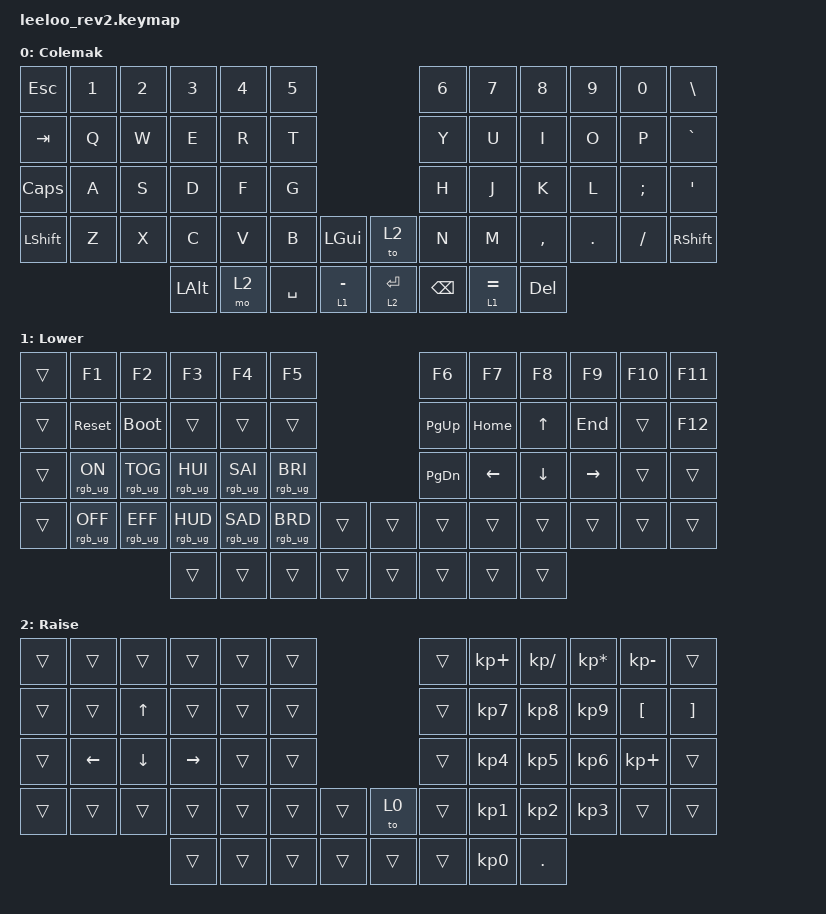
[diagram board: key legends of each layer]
#include <behaviors.dtsi>
#include <dt-bindings/zmk/outputs.h>
#include <dt-bindings/zmk/keys.h>
#include <dt-bindings/zmk/bt.h>
#include <dt-bindings/zmk/rgb.h>

// Layers
#define DEFAULT    0       // default_layer
#define LOWER      1       // lower_layer
#define RAISE      2       // raise_layer

// Short versions
#define RGBON   &rgb_ug RGB_ON
#define RGBOFF  &rgb_ug RGB_OFF
#define RGBTOG  &rgb_ug RGB_TOG
#define RGBHUI  &rgb_ug RGB_HUI
#define RGBHUD  &rgb_ug RGB_HUD
#define RGBSAI  &rgb_ug RGB_SAI
#define RGBSAD  &rgb_ug RGB_SAD
#define RGBBRI  &rgb_ug RGB_BRI
#define RGBBRD  &rgb_ug RGB_BRD
#define RGBEFF  &rgb_ug RGB_EFF


nice_view_spi: &spi0 {
  compatible = "nordic,nrf-spim";
  pinctrl-0 = <&spi0_default>;
  pinctrl-1 = <&spi0_sleep>;
  pinctrl-names = "default", "sleep";
  cs-gpios = <&pro_micro 4 GPIO_ACTIVE_HIGH>;
};


/ {

    keymap {
        compatible = "zmk,keymap";

        default_layer {
            label = "Colemak";
            bindings = <
&kp ESC    &kp N1     &kp N2     &kp N3     &kp N4     &kp N5                               &kp N6      &kp N7        &kp N8     &kp N9     &kp N0     &kp BSLH
&kp TAB    &kp Q      &kp W      &kp E      &kp R      &kp T                                &kp Y       &kp U         &kp I      &kp O      &kp P      &kp GRAV
&kp CAPS   &kp A      &kp S      &kp D      &kp F      &kp G                                &kp H       &kp J         &kp K      &kp L      &kp SEMI   &kp SQT
&kp LSHFT  &kp Z      &kp X      &kp C      &kp V      &kp B        &kp LGUI     &to 2      &kp N       &kp M         &kp COMMA  &kp DOT    &kp FSLH   &kp RSHFT
                                 &kp LALT   &mo 2      &kp SPACE    &lt 1 MINUS  &lt 2 RET  &kp BSPC    &lt 1 EQUAL   &kp DEL
            >;

//             sensor-bindings = <&inc_dec_kp C_VOL_UP C_VOL_DN>;
        };

        lower_layer {
            label = " Lower";
            bindings = <
&trans     &kp F1     &kp F2       &kp F3     &kp F4     &kp F5                           &kp F6     &kp F7     &kp F8     &kp F9     &kp F10    &kp F11
&trans     &sys_reset &bootloader  &trans     &trans     &trans                           &kp PG_UP  &kp HOME   &kp UP     &kp END    &trans     &kp F12
&trans     RGBON      RGBTOG       RGBHUI     RGBSAI     RGBBRI                           &kp PG_DN  &kp LEFT   &kp DOWN   &kp RIGHT  &trans     &trans
&trans     RGBOFF     RGBEFF       RGBHUD     RGBSAD     RGBBRD     &trans     &trans     &trans     &trans     &trans     &trans     &trans     &trans
                                   &trans     &trans     &trans     &trans     &trans     &trans     &trans     &trans
            >;

//             sensor-bindings = <&inc_dec_kp C_VOL_UP C_VOL_DN>;
        };

        raise_layer {
            label = " Raise";
            bindings = <
&trans     &trans        &trans        &trans        &trans        &trans                              &trans        &kp KP_PLUS   &kp KP_DIVIDE  &kp KP_MULTIPLY  &kp KP_MINUS   &trans
&trans     &trans        &kp UP        &trans        &trans        &trans                              &trans        &kp KP_N7     &kp KP_N8      &kp KP_N9        &kp LBKT       &kp RBKT
&trans     &kp LEFT      &kp DOWN      &kp RIGHT     &trans        &trans                              &trans        &kp KP_N4     &kp KP_N5      &kp KP_N6        &kp KP_PLUS    &trans
&trans     &trans        &trans        &trans        &trans        &trans        &trans     &to 0      &trans        &kp KP_N1     &kp KP_N2      &kp KP_N3        &trans         &trans
                                       &trans        &trans        &trans        &trans     &trans     &trans        &kp KP_N0     &kp DOT
            >;

//             sensor-bindings = <&inc_dec_kp C_VOL_UP C_VOL_DN>;
        };

    };
};
